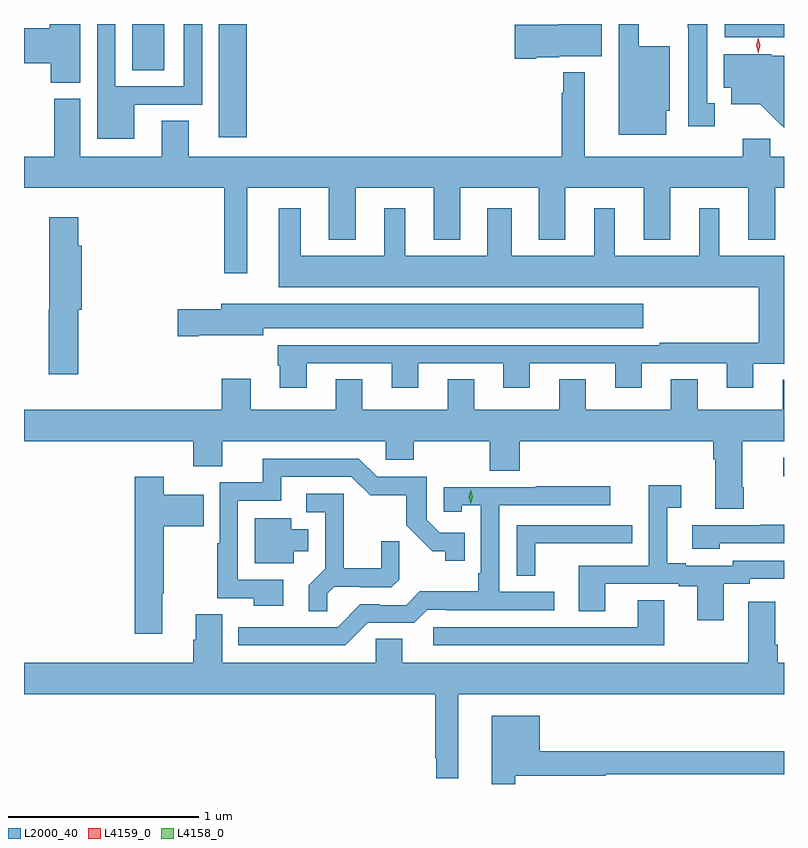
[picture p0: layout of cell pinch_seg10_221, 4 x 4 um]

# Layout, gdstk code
import gdstk
lib = gdstk.Library(unit=1e-6, precision=1e-09)
def R(c, l, rs):  # rectangles x0, y0, x1, y1
    for r in rs: c.add(gdstk.rectangle(r[:2], r[2:], *l))
def P(c, l, *ps):  # polygons
    for p in ps: c.add(gdstk.Polygon(p, *l))
L2000_40 = (2000, 40)
L4158_0 = (4158, 0)
L4159_0 = (4159, 0)

pinch_seg10_221 = lib.new_cell('pinch_seg10_221')
R(pinch_seg10_221, L2000_40, [(624.975,1293.471,624.978,1293.567), (622.004,1295.256,622.151,1295.851), (621.548,1295.608,621.715,1295.851), (624.666,1295.78,624.978,1295.851)])
P(pinch_seg10_221, L2000_40, [(623.674,1295.675),(623.796,1295.675),(623.796,1295.681),(624.019,1295.681),(624.019,1295.851),(623.792,1295.851),(623.792,1295.847),(623.562,1295.847),(623.562,1295.669),(623.674,1295.669)],
  [(621.274,1295.825),(621.273,1295.825),(621.273,1295.851),(621.113,1295.851),(621.113,1295.828),(620.978,1295.828),(620.978,1295.645),(621.118,1295.645),(621.118,1295.542),(621.274,1295.542)],
  [(621.559,1295.427),(621.915,1295.427),(621.915,1295.851),(621.819,1295.851),(621.819,1295.523),(621.459,1295.523),(621.459,1295.851),(621.363,1295.851),(621.363,1295.246),(621.559,1295.246)],
  [(624.358,1295.394),(624.376,1295.394),(624.376,1295.734),(624.214,1295.734),(624.214,1295.851),(624.107,1295.851),(624.107,1295.267),(624.358,1295.267)],
  [(624.613,1295.433),(624.574,1295.433),(624.574,1295.851),(624.471,1295.851),(624.471,1295.83),(624.473,1295.83),(624.473,1295.313),(624.613,1295.313)],
  [(624.978,1295.683),(624.912,1295.683),(624.912,1295.692),(624.662,1295.692),(624.662,1295.516),(624.701,1295.516),(624.701,1295.429),(624.853,1295.429),(624.956,1295.327),(624.978,1295.305)],
  [(622.153,1294.988),(622.583,1294.988),(622.583,1294.715),(622.723,1294.715),(622.723,1294.988),(623.135,1294.988),(623.135,1294.715),(623.275,1294.715),(623.275,1294.988),(623.687,1294.988),(623.687,1294.715),(623.827,1294.715),(623.827,1294.988),(624.239,1294.988),(624.239,1294.715),(624.379,1294.715),(624.379,1294.988),(624.791,1294.988),(624.791,1294.715),(624.931,1294.715),(624.931,1294.988),(624.978,1294.988),(624.978,1295.152),(624.906,1295.152),(624.906,1295.248),(624.76,1295.248),(624.76,1295.152),(623.929,1295.152),(623.929,1295.596),(623.815,1295.596),(623.815,1295.489),(623.808,1295.489),(623.808,1295.152),(621.844,1295.152),(621.844,1295.342),(621.704,1295.342),(621.704,1295.152),(621.274,1295.152),(621.274,1295.457),(621.136,1295.457),(621.136,1295.152),(620.978,1295.152),(620.978,1294.988),(622.032,1294.988),(622.032,1294.539),(622.153,1294.539)],
  [(622.465,1294.065),(622.913,1294.065),(622.913,1293.936),(623.053,1293.936),(623.053,1294.065),(623.501,1294.065),(623.501,1293.936),(623.641,1293.936),(623.641,1294.065),(624.089,1294.065),(624.089,1293.936),(624.229,1293.936),(624.229,1294.065),(624.677,1294.065),(624.677,1293.936),(624.817,1293.936),(624.817,1294.064),(624.978,1294.064),(624.978,1294.63),(624.637,1294.63),(624.637,1294.882),(624.533,1294.882),(624.533,1294.63),(624.088,1294.63),(624.088,1294.882),(623.978,1294.882),(623.978,1294.63),(623.545,1294.63),(623.545,1294.882),(623.417,1294.882),(623.417,1294.63),(622.984,1294.63),(622.984,1294.882),(622.874,1294.882),(622.874,1294.63),(622.435,1294.63),(622.435,1294.882),(622.319,1294.882),(622.319,1294.466),(624.845,1294.466),(624.845,1294.174),(624.325,1294.174),(624.325,1294.161),(622.313,1294.161),(622.313,1294.053),(622.325,1294.053),(622.325,1293.936),(622.465,1293.936)],
  [(621.263,1294.347),(621.281,1294.347),(621.281,1294.683),(621.263,1294.683),(621.263,1294.834),(621.11,1294.834),(621.11,1294.347),(621.109,1294.347),(621.109,1294.008),(621.263,1294.008)],
  [(621.898,1294.214),(622.237,1294.214),(622.237,1294.25),(624.238,1294.25),(624.238,1294.378),(622.016,1294.378),(622.016,1294.349),(621.786,1294.349),(621.786,1294.207),(621.898,1294.207)],
  [(624.765,1293.412),(624.757,1293.412),(624.757,1293.656),(624.978,1293.656),(624.978,1293.979),(624.971,1293.979),(624.971,1293.82),(624.523,1293.82),(624.523,1293.98),(624.383,1293.98),(624.383,1293.82),(623.935,1293.82),(623.935,1293.98),(623.795,1293.98),(623.795,1293.82),(623.347,1293.82),(623.347,1293.98),(623.207,1293.98),(623.207,1293.82),(622.759,1293.82),(622.759,1293.98),(622.619,1293.98),(622.619,1293.82),(622.171,1293.82),(622.171,1293.985),(622.019,1293.985),(622.019,1293.82),(620.978,1293.82),(620.978,1293.656),(621.869,1293.656),(621.869,1293.523),(622.021,1293.523),(622.021,1293.656),(622.881,1293.656),(622.881,1293.558),(623.028,1293.558),(623.028,1293.656),(623.428,1293.656),(623.428,1293.499),(623.588,1293.499),(623.588,1293.656),(624.605,1293.656),(624.605,1293.56),(624.617,1293.56),(624.617,1293.3),(624.765,1293.3)],
  [(622.342,1292.925),(622.104,1292.925),(622.104,1293.342),(622.333,1293.342),(622.333,1293.468),(622.701,1293.468),(622.8,1293.37),(622.989,1293.37),(622.989,1293.214),(623.126,1293.077),(623.196,1293.077),(623.196,1293.027),(623.297,1293.027),(623.297,1293.174),(623.166,1293.174),(623.097,1293.243),(623.097,1293.468),(622.836,1293.468),(622.74,1293.564),(622.235,1293.564),(622.235,1293.438),(622.008,1293.438),(622.008,1293.119),(621.996,1293.119),(621.996,1292.829),(622.186,1292.829),(622.186,1292.789),(622.342,1292.789)],
  [(621.706,1292.855),(621.714,1292.855),(621.714,1293.208),(621.923,1293.208),(621.923,1293.373),(621.714,1293.373),(621.714,1293.469),(621.56,1293.469),(621.56,1292.643),(621.706,1292.643)],
  [(624.661,1292.904),(624.798,1292.904),(624.798,1292.931),(624.978,1292.931),(624.978,1293.027),(624.708,1293.027),(624.708,1293),(624.46,1293),(624.46,1293.013),(624.364,1293.013),(624.364,1293.304),(624.436,1293.304),(624.436,1293.424),(624.267,1293.424),(624.267,1293),(623.897,1293),(623.897,1292.761),(624.037,1292.761),(624.037,1292.904),(624.425,1292.904),(624.425,1292.892),(624.521,1292.892),(624.521,1292.712),(624.661,1292.712)],
  [(622.788,1292.7),(623.031,1292.7),(623.1,1292.769),(623.2,1292.769),(623.2,1292.766),(623.77,1292.766),(623.77,1292.862),(623.478,1292.862),(623.478,1293.318),(624.064,1293.318),(624.064,1293.417),(623.671,1293.417),(623.671,1293.414),(623.187,1293.414),(623.187,1293.285),(623.283,1293.285),(623.283,1293.317),(623.382,1293.317),(623.382,1292.959),(623.37,1292.959),(623.37,1292.866),(623.062,1292.866),(622.989,1292.793),(622.85,1292.793),(622.85,1292.796),(622.749,1292.796),(622.629,1292.676),(622.106,1292.676),(622.106,1292.58),(622.668,1292.58)],
  [(622.575,1292.852),(622.612,1292.889),(622.746,1292.889),(622.746,1292.886),(622.911,1292.886),(622.952,1292.927),(622.952,1293.129),(622.858,1293.129),(622.858,1292.986),(622.661,1292.986),(622.661,1293.378),(622.464,1293.378),(622.464,1293.282),(622.563,1293.282),(622.563,1292.983),(622.477,1292.897),(622.477,1292.761),(622.575,1292.761)],
  [(622.399,1293.077),(622.474,1293.077),(622.474,1293.193),(622.384,1293.193),(622.384,1293.25),(622.193,1293.25),(622.193,1293.014),(622.399,1293.014)],
  [(624.639,1293.117),(624.978,1293.117),(624.978,1293.216),(624.853,1293.216),(624.853,1293.213),(624.495,1293.213),(624.495,1293.089),(624.639,1293.089)],
  [(623.67,1293.117),(624.065,1293.117),(624.065,1293.118),(624.178,1293.118),(624.178,1293.213),(623.571,1293.213),(623.571,1292.947),(623.67,1292.947)],
  [(624.349,1292.819),(624.209,1292.819),(624.209,1292.676),(623.133,1292.676),(623.133,1292.58),(624.349,1292.58)],
  [(623.263,1292.324),(624.978,1292.324),(624.978,1292.488),(624.944,1292.488),(624.944,1292.584),(624.931,1292.584),(624.931,1292.809),(624.791,1292.809),(624.791,1292.488),(622.969,1292.488),(622.969,1292.615),(622.83,1292.615),(622.83,1292.488),(622.021,1292.488),(622.021,1292.744),(621.881,1292.744),(621.881,1292.61),(621.869,1292.61),(621.869,1292.488),(620.978,1292.488),(620.978,1292.324),(623.142,1292.324),(623.142,1291.987),(623.148,1291.987),(623.148,1291.88),(623.263,1291.88)],
  [(623.563,1291.894),(624.041,1291.894),(624.041,1291.902),(624.978,1291.902),(624.978,1292.023),(623.692,1292.023),(623.692,1292.209),(623.441,1292.209),(623.441,1291.851),(623.563,1291.851)])
P(pinch_seg10_221, L4158_0, [(623.33,1293.327),(623.33,1293.327),(623.32,1293.363),(623.33,1293.398),(623.33,1293.399),(623.33,1293.398),(623.34,1293.363),(623.33,1293.327)])
P(pinch_seg10_221, L4159_0, [(624.842,1295.698),(624.842,1295.699),(624.832,1295.738),(624.842,1295.777),(624.842,1295.777),(624.842,1295.777),(624.852,1295.738),(624.842,1295.699)])

lib.write_gds('pinch_seg10_221.gds')
